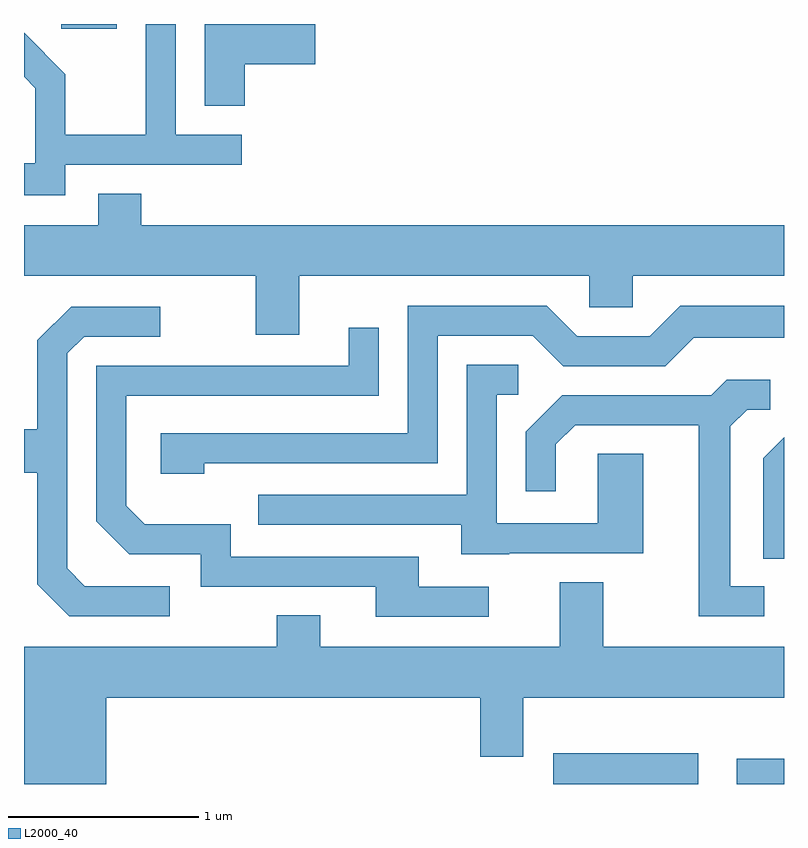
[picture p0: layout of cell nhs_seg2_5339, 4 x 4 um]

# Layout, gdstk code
import gdstk
lib = gdstk.Library(unit=1e-6, precision=1e-09)
def R(c, l, rs):  # rectangles x0, y0, x1, y1
    for r in rs: c.add(gdstk.rectangle(r[:2], r[2:], *l))
def P(c, l, *ps):  # polygons
    for p in ps: c.add(gdstk.Polygon(p, *l))
L2000_40 = (2000, 40)

nhs_seg2_5339 = lib.new_cell('nhs_seg2_5339')
R(nhs_seg2_5339, L2000_40, [(344.396,1107.802,345.159,1107.964), (345.361,1107.802,345.611,1107.934), (341.806,1111.776,342.099,1111.802)])
P(nhs_seg2_5339, L2000_40, [(341.829,1111.061),(342.758,1111.061),(342.758,1111.219),(342.409,1111.219),(342.409,1111.802),(342.251,1111.802),(342.251,1111.219),(341.829,1111.219),(341.829,1111.537),(341.611,1111.755),(341.611,1111.524),(341.671,1111.464),(341.671,1111.069),(341.611,1111.069),(341.611,1110.901),(341.829,1110.901)],
  [(342.774,1111.591),(343.144,1111.591),(343.144,1111.802),(342.561,1111.802),(342.561,1111.371),(342.774,1111.371)],
  [(343.059,1110.476),(344.586,1110.476),(344.586,1110.311),(344.814,1110.311),(344.814,1110.476),(345.611,1110.476),(345.611,1110.744),(342.229,1110.744),(342.229,1110.909),(342.001,1110.909),(342.001,1110.744),(341.611,1110.744),(341.611,1110.476),(342.831,1110.476),(342.831,1110.166),(343.059,1110.166)],
  [(342.559,1109.491),(343.789,1109.491),(343.789,1110.161),(344.289,1110.161),(344.449,1110.001),(344.987,1110.001),(345.137,1110.151),(345.611,1110.151),(345.611,1110.319),(345.064,1110.319),(344.904,1110.159),(344.522,1110.159),(344.362,1110.319),(343.631,1110.319),(343.631,1109.649),(342.331,1109.649),(342.331,1109.436),(342.559,1109.436)],
  [(342.378,1108.844),(341.932,1108.844),(341.839,1108.937),(341.839,1110.069),(341.927,1110.156),(342.328,1110.156),(342.328,1110.314),(341.859,1110.314),(341.681,1110.137),(341.681,1109.669),(341.611,1109.669),(341.611,1109.441),(341.681,1109.441),(341.681,1108.854),(341.849,1108.686),(342.378,1108.686)],
  [(344.058,1108.839),(343.689,1108.839),(343.689,1108.999),(342.699,1108.999),(342.699,1109.169),(342.247,1109.169),(342.149,1109.267),(342.149,1109.846),(343.479,1109.846),(343.479,1110.203),(343.321,1110.203),(343.321,1110.004),(341.991,1110.004),(341.991,1109.184),(342.164,1109.011),(342.541,1109.011),(342.541,1108.841),(343.461,1108.841),(343.461,1108.681),(344.058,1108.681)],
  [(344.165,1109.016),(344.869,1109.016),(344.869,1109.539),(344.631,1109.539),(344.631,1109.174),(344.099,1109.174),(344.099,1109.851),(344.213,1109.851),(344.213,1110.009),(343.941,1110.009),(343.941,1109.324),(342.843,1109.324),(342.843,1109.166),(343.911,1109.166),(343.911,1109.011),(344.165,1109.011)],
  [(345.508,1108.844),(345.329,1108.844),(345.329,1109.684),(345.417,1109.771),(345.538,1109.771),(345.538,1109.929),(345.309,1109.929),(345.229,1109.849),(344.444,1109.849),(344.251,1109.657),(344.251,1109.343),(344.409,1109.343),(344.409,1109.589),(344.512,1109.691),(345.161,1109.691),(345.161,1108.686),(345.508,1108.686)],
  [(345.611,1109.627),(345.501,1109.517),(345.501,1108.988),(345.611,1108.988)],
  [(342.044,1108.256),(344.011,1108.256),(344.011,1107.946),(344.239,1107.946),(344.239,1108.256),(345.611,1108.256),(345.611,1108.524),(344.659,1108.524),(344.659,1108.864),(344.431,1108.864),(344.431,1108.524),(343.169,1108.524),(343.169,1108.689),(342.941,1108.689),(342.941,1108.524),(341.611,1108.524),(341.611,1107.802),(342.044,1107.802)])

lib.write_gds('nhs_seg2_5339.gds')
